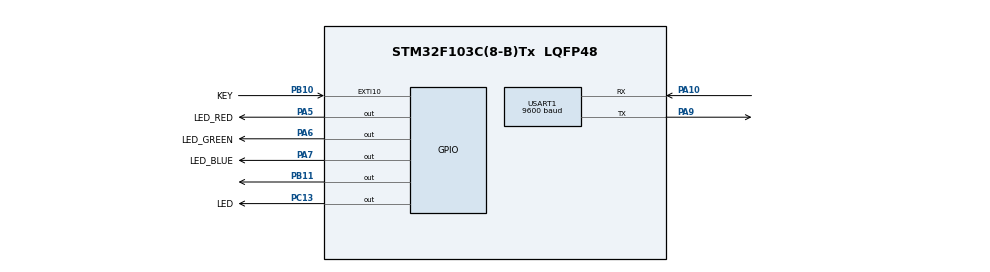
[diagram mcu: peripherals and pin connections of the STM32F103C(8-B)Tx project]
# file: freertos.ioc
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Dma.Request0=USART1_RX
Dma.USART1_RX.0.Direction=DMA_PERIPH_TO_MEMORY
Dma.USART1_RX.0.Instance=DMA1_Channel5
Dma.USART1_RX.0.MemDataAlignment=DMA_MDATAALIGN_BYTE
Dma.USART1_RX.0.MemInc=DMA_MINC_ENABLE
Dma.USART1_RX.0.Mode=DMA_NORMAL
Dma.USART1_RX.0.PeriphDataAlignment=DMA_PDATAALIGN_BYTE
Dma.USART1_RX.0.PeriphInc=DMA_PINC_DISABLE
Dma.USART1_RX.0.Priority=DMA_PRIORITY_MEDIUM
FREERTOS.BinarySemaphores01=KeySemaphore,Dynamic,NULL,Depleted;uartSem,Dynamic,NULL,Depleted
FREERTOS.Queues01=LEDQueue,16,led_t*,0,Dynamic,NULL,NULL;CommandQueue,16,uint8_t,0,Dynamic,NULL,NULL
FREERTOS.Tasks01=KeyTask,40,128,StartKeyTask,As weak,NULL,Dynamic,NULL,NULL;LEDTask,24,128,startLEDTask,As external,NULL,Dynamic,NULL,NULL;CommandTask,41,128,StartCommandTask,As external,NULL,Dynamic,NULL,NULL
Mcu.Family=STM32F1
Mcu.Name=STM32F103C(8-B)Tx
Mcu.Package=LQFP48
NVIC.DMA1_Channel5_IRQn=true\:5\:0\:false\:false\:true\:true\:false\:true\:true
NVIC.EXTI15_10_IRQn=true\:5\:0\:false\:false\:true\:true\:true\:true\:true
NVIC.PriorityGroup=NVIC_PRIORITYGROUP_4
NVIC.TIM4_IRQn=true\:15\:0\:false\:false\:true\:false\:false\:true\:true
NVIC.TimeBase=TIM4_IRQn
NVIC.TimeBaseIP=TIM4
NVIC.USART1_IRQn=true\:5\:0\:false\:false\:true\:true\:true\:true\:true
PA10.Mode=Asynchronous
PA10.Signal=USART1_RX
PA13.Mode=Serial_Wire
PA13.Signal=SYS_JTMS-SWDIO
PA14.Mode=Serial_Wire
PA14.Signal=SYS_JTCK-SWCLK
PA5.GPIO_Label=LED_RED
PA5.Signal=GPIO_Output
PA6.GPIO_Label=LED_GREEN
PA6.Signal=GPIO_Output
PA7.GPIO_Label=LED_BLUE
PA7.Signal=GPIO_Output
PA9.Mode=Asynchronous
PA9.Signal=USART1_TX
PB10.GPIO_Label=KEY
PB10.GPIO_ModeDefaultEXTI=GPIO_MODE_IT_FALLING
PB10.GPIO_PuPd=GPIO_PULLUP
PB10.Signal=GPXTI10
PB11.GPIO_PuPd=GPIO_PULLDOWN
PB11.Signal=GPIO_Output
PC13-TAMPER-RTC.GPIO_Label=LED
PC13-TAMPER-RTC.PinState=GPIO_PIN_SET
PC13-TAMPER-RTC.Signal=GPIO_Output
ProjectManager.HeapSize=0x200
ProjectManager.StackSize=0x400
ProjectManager.TargetToolchain=CMake
RCC.APB1Freq_Value=8000000
RCC.APB2Freq_Value=8000000
USART1.BaudRate=9600
USART1.VirtualMode=VM_ASYNC
VP_FREERTOS_VS_CMSIS_V2.Mode=CMSIS_V2
VP_SYS_VS_tim4.Mode=TIM4
board=custom

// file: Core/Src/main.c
/* USER CODE BEGIN Header */
/**
  ******************************************************************************
  * @file           : main.c
  * @brief          : Main program body
  ******************************************************************************
  * @attention
  *
  * Copyright (c) 2026 STMicroelectronics.
  * All rights reserved.
  *
  * This software is licensed under terms that can be found in the LICENSE file
  * in the root directory of this software component.
  * If no LICENSE file comes with this software, it is provided AS-IS.
  *
  ******************************************************************************
  */
/* USER CODE END Header */
#include "main.h"
#include "cmsis_os.h"
#include "dma.h"
#include "usart.h"
#include "gpio.h"

void SystemClock_Config(void);
void MX_FREERTOS_Init(void);

int main(void)
{

  /* MCU Configuration--------------------------------------------------------*/

  /* Reset of all peripherals, Initializes the Flash interface and the Systick. */
  HAL_Init();

  /* Configure the system clock */
  SystemClock_Config();

  /* Initialize all configured peripherals */
  MX_GPIO_Init();
  MX_DMA_Init();
  MX_USART1_UART_Init();

  /* Init scheduler */
  osKernelInitialize();  /* Call init function for freertos objects (in cmsis_os2.c) */
  MX_FREERTOS_Init();

  /* Start scheduler */
  osKernelStart();

  /* We should never get here as control is now taken by the scheduler */

  /* Infinite loop */
  while (1)
  {

  }
}

void SystemClock_Config(void)
{
  RCC_OscInitTypeDef RCC_OscInitStruct = {0};
  RCC_ClkInitTypeDef RCC_ClkInitStruct = {0};

  /** Initializes the RCC Oscillators according to the specified parameters
  * in the RCC_OscInitTypeDef structure.
  */
  RCC_OscInitStruct.OscillatorType = RCC_OSCILLATORTYPE_HSI;
  RCC_OscInitStruct.HSIState = RCC_HSI_ON;
  RCC_OscInitStruct.HSICalibrationValue = RCC_HSICALIBRATION_DEFAULT;
  RCC_OscInitStruct.PLL.PLLState = RCC_PLL_NONE;
  if (HAL_RCC_OscConfig(&RCC_OscInitStruct) != HAL_OK)
  {
    Error_Handler();
  }

  /** Initializes the CPU, AHB and APB buses clocks
  */
  RCC_ClkInitStruct.ClockType = RCC_CLOCKTYPE_HCLK|RCC_CLOCKTYPE_SYSCLK
                              |RCC_CLOCKTYPE_PCLK1|RCC_CLOCKTYPE_PCLK2;
  RCC_ClkInitStruct.SYSCLKSource = RCC_SYSCLKSOURCE_HSI;
  RCC_ClkInitStruct.AHBCLKDivider = RCC_SYSCLK_DIV1;
  RCC_ClkInitStruct.APB1CLKDivider = RCC_HCLK_DIV1;
  RCC_ClkInitStruct.APB2CLKDivider = RCC_HCLK_DIV1;

  if (HAL_RCC_ClockConfig(&RCC_ClkInitStruct, FLASH_LATENCY_0) != HAL_OK)
  {
    Error_Handler();
  }
}

void HAL_TIM_PeriodElapsedCallback(TIM_HandleTypeDef *htim)
{
  if (htim->Instance == TIM4)
  {
    HAL_IncTick();
  }
}

void Error_Handler(void)
{
  __disable_irq();
  while (1)
  {
  }
}

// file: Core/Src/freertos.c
/* USER CODE BEGIN Header */
/**
  ******************************************************************************
  * File Name          : freertos.c
  * Description        : Code for freertos applications
  ******************************************************************************
  * @attention
  *
  * Copyright (c) 2026 STMicroelectronics.
  * All rights reserved.
  *
  * This software is licensed under terms that can be found in the LICENSE file
  * in the root directory of this software component.
  * If no LICENSE file comes with this software, it is provided AS-IS.
  *
  ******************************************************************************
  */
/* USER CODE END Header */

#include "FreeRTOS.h"
#include "task.h"
#include "main.h"
#include "cmsis_os.h"

/* USER CODE BEGIN Includes */
#include <stdio.h>
#include <string.h>
#include "usart.h"
#include "Types/LEDType.h"
/* USER CODE END Includes */

/* USER CODE BEGIN PD */

/* 内核对象创建失败的兜底检查：
 * 堆只有 3072 B，osThreadNew / osMessageQueueNew / osSemaphoreNew 在堆不足时
 * 返回 NULL，任务会静默地不存在、现场无法定位。
 * 失败时把对象名留在全局变量里（调试器可直接查看），并用板载灯持续闪烁提示。 */
static const char * volatile g_failed_object;

static void mx_assert_created(const void *handle, const char *name)
{
  if (handle == NULL) {
    g_failed_object = name;
    for (;;) {
      HAL_GPIO_TogglePin(LED_GPIO_Port, LED_Pin);
      for (volatile uint32_t i = 0u; i < 200000u; i++) { }
    }
  }
}

/* USER CODE END PD */

/* Definitions for KeyTask */
osThreadId_t KeyTaskHandle;
const osThreadAttr_t KeyTask_attributes = {
  .name = "KeyTask",
  .stack_size = 128 * 4,
  .priority = (osPriority_t) osPriorityHigh,
};
/* Definitions for LEDTask */
osThreadId_t LEDTaskHandle;
const osThreadAttr_t LEDTask_attributes = {
  .name = "LEDTask",
  .stack_size = 128 * 4,
  .priority = (osPriority_t) osPriorityNormal,
};
/* Definitions for CommandTask */
osThreadId_t CommandTaskHandle;
const osThreadAttr_t CommandTask_attributes = {
  .name = "CommandTask",
  .stack_size = 128 * 4,
  .priority = (osPriority_t) osPriorityHigh1,
};
/* Definitions for LEDQueue */
osMessageQueueId_t LEDQueueHandle;
const osMessageQueueAttr_t LEDQueue_attributes = {
  .name = "LEDQueue"
};
/* Definitions for CommandQueue */
osMessageQueueId_t CommandQueueHandle;
const osMessageQueueAttr_t CommandQueue_attributes = {
  .name = "CommandQueue"
};
/* Definitions for KeySemaphore */
osSemaphoreId_t KeySemaphoreHandle;
const osSemaphoreAttr_t KeySemaphore_attributes = {
  .name = "KeySemaphore"
};
/* Definitions for uartSem */
osSemaphoreId_t uartSemHandle;
const osSemaphoreAttr_t uartSem_attributes = {
  .name = "uartSem"
};

void StartKeyTask(void *argument);
extern void startLEDTask(void *argument);
extern void StartCommandTask(void *argument);

void MX_FREERTOS_Init(void); /* (MISRA C 2004 rule 8.1) */

void MX_FREERTOS_Init(void) {

  /* Create the semaphores(s) */
  /* creation of KeySemaphore */
  KeySemaphoreHandle = osSemaphoreNew(1, 0, &KeySemaphore_attributes);

  /* creation of uartSem */
  uartSemHandle = osSemaphoreNew(1, 0, &uartSem_attributes);

  /* Create the queue(s) */
  /* creation of LEDQueue */
  LEDQueueHandle = osMessageQueueNew (16, sizeof(led_t*), &LEDQueue_attributes);

  /* creation of CommandQueue */
  CommandQueueHandle = osMessageQueueNew (16, sizeof(uint8_t), &CommandQueue_attributes);

  /* Create the thread(s) */
  /* creation of KeyTask */
  KeyTaskHandle = osThreadNew(StartKeyTask, NULL, &KeyTask_attributes);

  /* creation of LEDTask */
  LEDTaskHandle = osThreadNew(startLEDTask, NULL, &LEDTask_attributes);

  /* creation of CommandTask */
  CommandTaskHandle = osThreadNew(StartCommandTask, NULL, &CommandTask_attributes);

  /* USER CODE BEGIN RTOS_EVENTS */
  /* 统一校验所有内核对象是否创建成功（放在 USER CODE 区，CubeMX 重新生成不会丢） */
  mx_assert_created(KeySemaphoreHandle,   "KeySemaphore");
  mx_assert_created(uartSemHandle,        "uartSem");
  mx_assert_created(LEDQueueHandle,       "LEDQueue");
  mx_assert_created(CommandQueueHandle,   "CommandQueue");
  mx_assert_created(KeyTaskHandle,        "KeyTask");
  mx_assert_created(LEDTaskHandle,        "LEDTask");
  mx_assert_created(CommandTaskHandle,    "CommandTask");
  /* USER CODE END RTOS_EVENTS */

}

__weak void StartKeyTask(void *argument)
{
  for(;;)
  {
    osDelay(1);
  }
}
